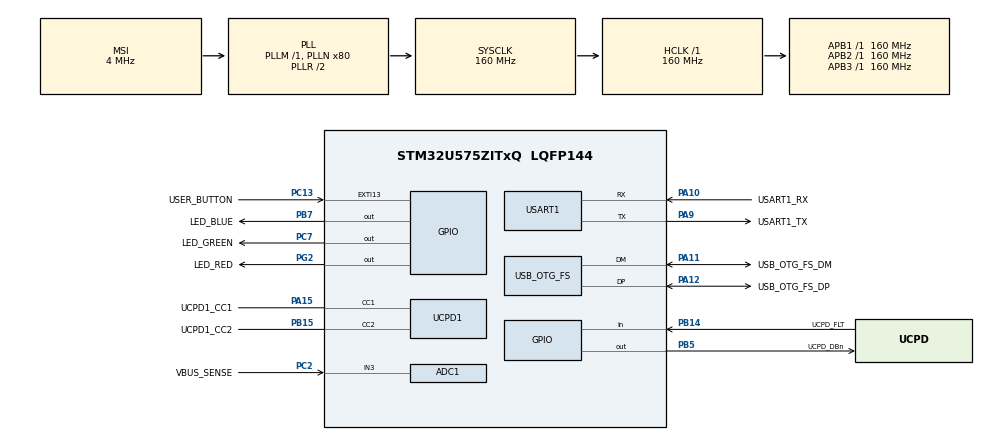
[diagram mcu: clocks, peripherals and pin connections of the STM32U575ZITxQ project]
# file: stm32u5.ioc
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ADC1.NbrOfConversion=1
ADC1.Resolution=ADC_RESOLUTION_14B
ADC1.master=1
CORTEX_M33_NS.userName=CORTEX_M33
Mcu.Family=STM32U5
Mcu.Name=STM32U575ZITxQ
Mcu.Package=LQFP144
NVIC.OTG_FS_IRQn=true\:0\:0\:false\:false\:true\:true\:true\:true
NVIC.PriorityGroup=NVIC_PRIORITYGROUP_3
PA10.GPIO_Label=USART1_RX
PA10.GPIO_PuPd=GPIO_PULLDOWN
PA10.GPIO_Speed=GPIO_SPEED_FREQ_VERY_HIGH
PA10.Mode=Asynchronous
PA10.Signal=USART1_RX
PA11.GPIO_Label=USB_OTG_FS_DM
PA11.GPIO_Speed=GPIO_SPEED_FREQ_VERY_HIGH
PA11.Mode=Device_Only
PA11.Signal=USB_OTG_FS_DM
PA12.GPIO_Label=USB_OTG_FS_DP
PA12.GPIO_Speed=GPIO_SPEED_FREQ_VERY_HIGH
PA12.Mode=Device_Only
PA12.Signal=USB_OTG_FS_DP
PA13\ (JTMS/SWDIO).Mode=Trace_Asynchronous_SW
PA13\ (JTMS/SWDIO).Signal=DEBUG_JTMS-SWDIO
PA14\ (JTCK/SWCLK).Mode=Trace_Asynchronous_SW
PA14\ (JTCK/SWCLK).Signal=DEBUG_JTCK-SWCLK
PA15\ (JTDI).GPIO_Label=UCPD1_CC1
PA15\ (JTDI).Mode=Sink_AllSignals
PA15\ (JTDI).Signal=UCPD1_CC1
PA9.GPIO_Label=USART1_TX
PA9.GPIO_PuPd=GPIO_PULLDOWN
PA9.GPIO_Speed=GPIO_SPEED_FREQ_VERY_HIGH
PA9.Mode=Asynchronous
PA9.Signal=USART1_TX
PB14.GPIO_Label=UCPD_FLT
PB14.Signal=GPIO_Input
PB15.GPIO_Label=UCPD1_CC2
PB15.Mode=Sink_AllSignals
PB15.Signal=UCPD1_CC2
PB3\ (JTDO/TRACESWO).Mode=Trace_Asynchronous_SW
PB3\ (JTDO/TRACESWO).Signal=DEBUG_JTDO-SWO
PB5.GPIO_Label=UCPD_DBn
PB5.Signal=GPIO_Output
PB7.GPIO_Label=LED_BLUE
PB7.GPIO_ModeDefaultOutputPP=GPIO_MODE_OUTPUT_PP
PB7.GPIO_PuPd=GPIO_PULLUP
PB7.GPIO_Speed=GPIO_SPEED_FREQ_HIGH
PB7.Signal=GPIO_Output
PC13.GPIO_Label=USER_BUTTON
PC13.GPIO_ModeDefaultEXTI=GPIO_MODE_IT_FALLING
PC13.Signal=GPXTI13
PC14-OSC32_IN\ (PC14).Mode=LSE-External-Oscillator
PC14-OSC32_IN\ (PC14).Signal=RCC_OSC32_IN
PC15-OSC32_OUT\ (PC15).Mode=LSE-External-Oscillator
PC15-OSC32_OUT\ (PC15).Signal=RCC_OSC32_OUT
PC2.GPIO_Label=VBUS_SENSE
PC2.Mode=IN3-Single-Ended
PC2.Signal=ADC1_IN3
PC7.GPIO_Label=LED_GREEN
PC7.GPIO_PuPd=GPIO_PULLUP
PC7.GPIO_Speed=GPIO_SPEED_FREQ_HIGH
PC7.Signal=GPIO_Output
PG2.GPIO_Label=LED_RED
PG2.GPIO_ModeDefaultOutputPP=GPIO_MODE_OUTPUT_PP
PG2.GPIO_PuPd=GPIO_PULLUP
PG2.GPIO_Speed=GPIO_SPEED_FREQ_HIGH
PG2.Signal=GPIO_Output
PWR.PowerMode=PWR_SMPS_SUPPLY
ProjectManager.HeapSize=0x200
ProjectManager.StackSize=0x400
ProjectManager.TargetToolchain=Makefile
RCC.ADCFreq_Value=16000000
RCC.AHBFreq_Value=160000000
RCC.APB1Freq_Value=160000000
RCC.APB1TimFreq_Value=160000000
RCC.APB2Freq_Value=160000000
RCC.APB2TimFreq_Value=160000000
RCC.APB3Freq_Value=160000000
RCC.CortexFreq_Value=160000000
RCC.DACCLockSelectionVirtual=RCC_DAC1CLKSOURCE_LSI
RCC.EPOD_VALUE=4000000
RCC.HCLKFreq_Value=160000000
RCC.HSE_VALUE=16000000
RCC.HSI48_VALUE=48000000
RCC.HSI_VALUE=16000000
RCC.LSIDIV_VALUE=32000
RCC.MSI_VALUE=4000000
RCC.PLLN=80
RCC.SYSCLKFreq_VALUE=160000000
RCC.SYSCLKSource=RCC_SYSCLKSOURCE_PLLCLK
RCC.USBFreq_Value=48000000
RCC.VCOOutputFreq_Value=320000000
USART1.VirtualMode-Asynchronous=VM_ASYNC
USB_OTG_FS.VirtualMode=Device_Only
VP_ICACHE_VS_ENABLE_ICACHE_MEMORY.Mode=Memoryregions
VP_ICACHE_VS_ICACHE.Mode=DirectMappedCache
VP_LPBAMQUEUE_VS_QUEUE.Mode=QUEUEMODE
VP_LPBAM_VS_SIG1.Mode=SmartRun
VP_LPBAM_VS_SIG4.Mode=LPDMA1
VP_PWR_VS_DBSignals.Mode=DisableDeadBatterySignals
VP_PWR_VS_LPOM.Mode=PowerOptimisation
VP_PWR_VS_SECSignals.Mode=Security/Privilege
board=NUCLEO-U575ZI-Q

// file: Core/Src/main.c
/* USER CODE BEGIN Header */
/**
 ******************************************************************************
 * @file           : main.c
 * @brief          : Main program body
 ******************************************************************************
 * @attention
 *
 * Copyright (c) 2023 STMicroelectronics.
 * All rights reserved.
 *
 * This software is licensed under terms that can be found in the LICENSE file
 * in the root directory of this software component.
 * If no LICENSE file comes with this software, it is provided AS-IS.
 *
 ******************************************************************************
 */
/* USER CODE END Header */
#include "main.h"
#include "adc.h"
#include "gpio.h"
#include "icache.h"
#include "ucpd.h"
#include "usart.h"
#include "usb_otg.h"

/* USER CODE BEGIN Includes */
#include "strbuff.h"
/* USER CODE END Includes */

void        SystemClock_Config(void);
static void SystemPower_Config(void);

int main(void)
{

    /* MCU Configuration--------------------------------------------------------*/

    /* Reset of all peripherals, Initializes the Flash interface and the Systick. */
    HAL_Init();

    /* Configure the system clock */
    SystemClock_Config();

    /* Configure the System Power */
    SystemPower_Config();

    /* Initialize all configured peripherals */
    MX_GPIO_Init();
    MX_ADC1_Init();
    MX_ICACHE_Init();
    MX_UCPD1_Init();
    MX_USART1_UART_Init();
    MX_USB_OTG_FS_PCD_Init();
    /* USER CODE BEGIN 2 */

    new_strbuff(toto, 50, "Hello world");
    new_strbuff(start, 40, "Hell");

    unsigned int  blink_led_period;
    GPIO_TypeDef *blink_led_GPIO_Port;
    uint16_t      blink_led_Pin;

    if (strbuff_starts_with(&toto, &start)) {
        uart1_printf("\"%s\" starts with \"%s\"", toto.str, start.str);
        blink_led_period    = 1000;
        blink_led_GPIO_Port = LED_GREEN_GPIO_Port;
        blink_led_Pin       = LED_GREEN_Pin;
    } else {
        uart1_printf("\"%s\" does not start with \"%s\"", toto.str, start.str);
        blink_led_period    = 100;
        blink_led_GPIO_Port = LED_RED_GPIO_Port;
        blink_led_Pin       = LED_RED_Pin;
    }

    /* USER CODE END 2 */

    /* Infinite loop */
    while (1) {

        HAL_GPIO_TogglePin(blink_led_GPIO_Port, blink_led_Pin);
        HAL_Delay(blink_led_period);

    }
}

void SystemClock_Config(void)
{
    RCC_OscInitTypeDef RCC_OscInitStruct = { 0 };
    RCC_ClkInitTypeDef RCC_ClkInitStruct = { 0 };

    /** Configure the main internal regulator output voltage
     */
    if (HAL_PWREx_ControlVoltageScaling(PWR_REGULATOR_VOLTAGE_SCALE1) != HAL_OK) {
        Error_Handler();
    }

    /** Initializes the CPU, AHB and APB buses clocks
     */
    RCC_OscInitStruct.OscillatorType = RCC_OSCILLATORTYPE_HSI48 | RCC_OSCILLATORTYPE_HSI
        | RCC_OSCILLATORTYPE_MSI;
    RCC_OscInitStruct.HSIState            = RCC_HSI_ON;
    RCC_OscInitStruct.HSI48State          = RCC_HSI48_ON;
    RCC_OscInitStruct.HSICalibrationValue = RCC_HSICALIBRATION_DEFAULT;
    RCC_OscInitStruct.MSIState            = RCC_MSI_ON;
    RCC_OscInitStruct.MSICalibrationValue = RCC_MSICALIBRATION_DEFAULT;
    RCC_OscInitStruct.MSIClockRange       = RCC_MSIRANGE_4;
    RCC_OscInitStruct.PLL.PLLState        = RCC_PLL_ON;
    RCC_OscInitStruct.PLL.PLLSource       = RCC_PLLSOURCE_MSI;
    RCC_OscInitStruct.PLL.PLLMBOOST       = RCC_PLLMBOOST_DIV1;
    RCC_OscInitStruct.PLL.PLLM            = 1;
    RCC_OscInitStruct.PLL.PLLN            = 80;
    RCC_OscInitStruct.PLL.PLLP            = 2;
    RCC_OscInitStruct.PLL.PLLQ            = 2;
    RCC_OscInitStruct.PLL.PLLR            = 2;
    RCC_OscInitStruct.PLL.PLLRGE          = RCC_PLLVCIRANGE_0;
    RCC_OscInitStruct.PLL.PLLFRACN        = 0;
    if (HAL_RCC_OscConfig(&RCC_OscInitStruct) != HAL_OK) {
        Error_Handler();
    }

    /** Initializes the CPU, AHB and APB buses clocks
     */
    RCC_ClkInitStruct.ClockType = RCC_CLOCKTYPE_HCLK | RCC_CLOCKTYPE_SYSCLK
        | RCC_CLOCKTYPE_PCLK1 | RCC_CLOCKTYPE_PCLK2
        | RCC_CLOCKTYPE_PCLK3;
    RCC_ClkInitStruct.SYSCLKSource   = RCC_SYSCLKSOURCE_PLLCLK;
    RCC_ClkInitStruct.AHBCLKDivider  = RCC_SYSCLK_DIV1;
    RCC_ClkInitStruct.APB1CLKDivider = RCC_HCLK_DIV1;
    RCC_ClkInitStruct.APB2CLKDivider = RCC_HCLK_DIV1;
    RCC_ClkInitStruct.APB3CLKDivider = RCC_HCLK_DIV1;

    if (HAL_RCC_ClockConfig(&RCC_ClkInitStruct, FLASH_LATENCY_4) != HAL_OK) {
        Error_Handler();
    }
}

/**
 * @brief Power Configuration
 * @retval None
 */
static void SystemPower_Config(void)
{
    HAL_PWREx_EnableVddIO2();

    /*
     * Switch to SMPS regulator instead of LDO
     */
    if (HAL_PWREx_ConfigSupply(PWR_SMPS_SUPPLY) != HAL_OK) {
        Error_Handler();
    }
}

void Error_Handler(void)
{
    __disable_irq();
    while (1) {
    }
}
